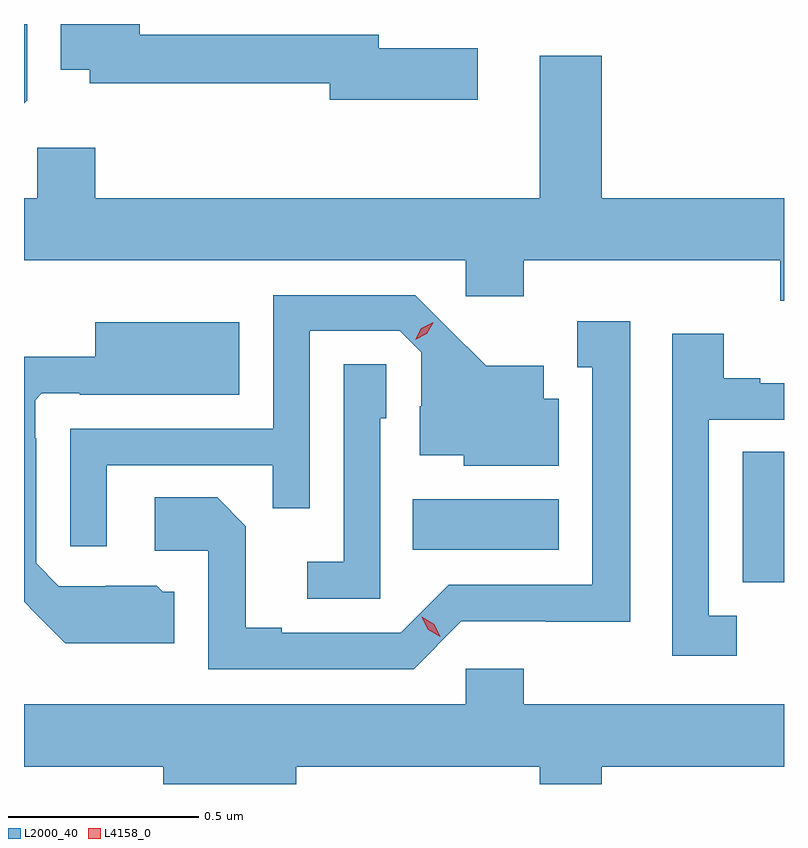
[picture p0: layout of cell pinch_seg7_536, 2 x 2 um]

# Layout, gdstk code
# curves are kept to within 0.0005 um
import gdstk
lib = gdstk.Library(unit=1e-6, precision=1e-09)
def R(c, l, rs):  # rectangles x0, y0, x1, y1
    for r in rs: c.add(gdstk.rectangle(r[:2], r[2:], *l))
def P(c, l, *ps):  # polygons
    for p in ps: c.add(gdstk.Polygon(p, *l))
L2000_40 = (2000, 40)
L4158_0 = (4158, 0)

pinch_seg7_536 = lib.new_cell('pinch_seg7_536')
R(pinch_seg7_536, L2000_40, [(117.59,1075.693,117.699,1076.036), (116.722,1075.778,117.106,1075.912)])
P(pinch_seg7_536, L2000_40, [(116.893,1077.098),(116.632,1077.098),(116.632,1077.134),(116.003,1077.134),(116.003,1077.162),(115.796,1077.162),(115.796,1077.041),(115.872,1077.041),(115.872,1077.006),(116.504,1077.006),(116.504,1076.963),(116.893,1076.963)],
  [(115.707,1076.961),(115.707,1077.162),(115.699,1077.162),(115.699,1076.953)],
  [(117.699,1076.704),(117.22,1076.704),(117.22,1077.079),(117.056,1077.079),(117.056,1076.704),(115.886,1076.704),(115.886,1076.836),(115.734,1076.836),(115.734,1076.704),(115.699,1076.704),(115.699,1076.54),(116.862,1076.54),(116.862,1076.445),(117.014,1076.445),(117.014,1076.54),(117.689,1076.54),(117.689,1076.434),(117.699,1076.434)],
  [(115.917,1076.001),(116.353,1076.001),(116.353,1075.888),(116.451,1075.888),(116.451,1076.355),(116.688,1076.355),(116.745,1076.298),(116.745,1076.156),(116.741,1076.156),(116.741,1076.027),(116.856,1076.027),(116.856,1076),(117.106,1076),(117.106,1076.176),(117.067,1076.176),(117.067,1076.263),(116.915,1076.263),(116.728,1076.448),(116.355,1076.448),(116.355,1076.097),(115.821,1076.097),(115.821,1075.788),(115.917,1075.788)],
  [(116.85,1075.59),(117.072,1075.59),(117.072,1075.589),(117.295,1075.589),(117.295,1076.38),(117.155,1076.38),(117.155,1076.259),(117.194,1076.259),(117.194,1075.686),(116.817,1075.686),(116.691,1075.56),(116.377,1075.56),(116.377,1075.573),(116.283,1075.573),(116.283,1075.84),(116.207,1075.916),(116.043,1075.916),(116.043,1075.776),(116.184,1075.776),(116.184,1075.464),(116.724,1075.464)],
  [(116.095,1075.668),(116.064,1075.668),(116.048,1075.684),(115.914,1075.684),(115.914,1075.683),(115.791,1075.683),(115.731,1075.743),(115.731,1076.072),(115.728,1076.072),(115.728,1076.172),(115.746,1076.19),(115.846,1076.19),(115.846,1076.186),(116.266,1076.186),(116.266,1076.377),(115.886,1076.377),(115.886,1076.287),(115.699,1076.287),(115.699,1075.641),(115.807,1075.532),(116.095,1075.532)],
  [(117.574,1075.605),(117.501,1075.605),(117.501,1076.121),(117.699,1076.121),(117.699,1076.217),(117.637,1076.217),(117.637,1076.23),(117.541,1076.23),(117.541,1076.347),(117.405,1076.347),(117.405,1075.5),(117.574,1075.5)],
  [(116.637,1076.124),(116.652,1076.124),(116.652,1076.267),(116.541,1076.267),(116.541,1075.747),(116.445,1075.747),(116.445,1075.65),(116.637,1075.65)],
  [(116.416,1075.208),(117.056,1075.208),(117.056,1075.162),(117.22,1075.162),(117.22,1075.208),(117.699,1075.208),(117.699,1075.372),(117.014,1075.372),(117.014,1075.465),(116.862,1075.465),(116.862,1075.372),(115.699,1075.372),(115.699,1075.208),(116.066,1075.208),(116.066,1075.162),(116.416,1075.162)])
P(pinch_seg7_536, L4158_0, [(116.794,1075.549),(116.763,1075.568),(116.746,1075.601),(116.746,1075.602),(116.746,1075.602),(116.778,1075.582),(116.794,1075.549),(116.794,1075.549)],
  [(116.729,1076.331),(116.729,1076.331),(116.745,1076.361),(116.776,1076.377),(116.776,1076.377),(116.776,1076.376),(116.759,1076.347),(116.729,1076.331)])

lib.write_gds('pinch_seg7_536.gds')
